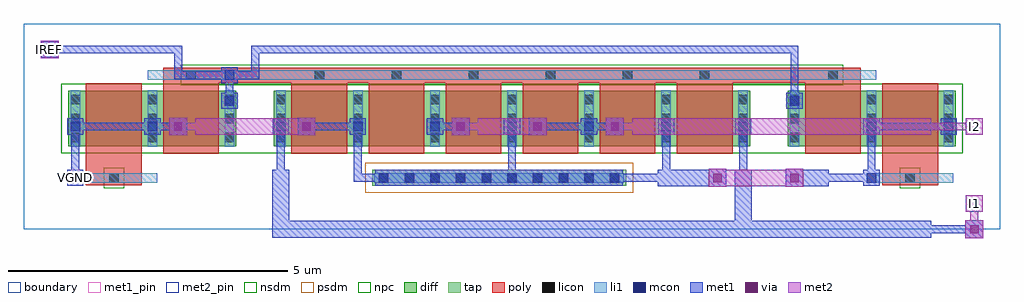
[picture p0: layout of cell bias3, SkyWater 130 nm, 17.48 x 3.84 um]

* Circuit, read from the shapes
.subckt bias3 I1 I2 IREF VGND
XM1 VGND VGND VGND VGND sky130_fd_pr__nfet_01v8 w=1 l=1 m=2
XM2 IREF IREF VGND VGND sky130_fd_pr__nfet_01v8 w=1 l=1 m=2
XM3 VGND IREF I1 VGND sky130_fd_pr__nfet_01v8 w=1 l=1 m=2
XM4 I2 IREF VGND VGND sky130_fd_pr__nfet_01v8 w=1 l=1 m=4
.ends

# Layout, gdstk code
import gdstk
lib = gdstk.Library(unit=1e-6, precision=1e-09)
def R(c, l, rs):  # rectangles x0, y0, x1, y1
    for r in rs: c.add(gdstk.rectangle(r[:2], r[2:], *l))
def A(c, l, x, y, w, h, nx, ny, dx, dy):  # array of equal rectangles
    R(c, l, [(x+i*dx, y+j*dy, x+i*dx+w, y+j*dy+h) for i in range(nx) for j in range(ny)])
diff = (65, 20)
tap = (65, 44)
poly = (66, 20)
licon = (66, 44)
li1 = (67, 20)
mcon = (67, 44)
met1_pin = (68, 16)
met1 = (68, 20)
via = (68, 44)
met2_pin = (69, 16)
met2 = (69, 20)
nsdm = (93, 44)
psdm = (94, 20)
npc = (95, 20)
boundary = (235, 4)

bias3 = lib.new_cell('bias3')
R(bias3, diff, [(0.795,1.485,3.805,2.485), (4.475,1.485,13.005,2.485), (13.675,1.485,16.685,2.485)])
R(bias3, tap, [(6.235,0.775,10.785,1.065)])
A(bias3, poly, 4.79, 1.355, 1, 1.405, 6, 1, 1.38, 0)
R(bias3, poly, [(1.11,0.785,2.11,1.055), (15.37,0.785,16.37,1.055), (1.11,0.92,2.11,2.615), (15.37,0.92,16.37,2.615), (2.49,1.355,3.49,2.76), (13.99,1.355,14.99,2.76), (2.49,2.625,14.99,2.895)])
A(bias3, licon, 6.355, 0.835, 0.17, 0.17, 10, 1, 0.46, 0)
A(bias3, licon, 0.835, 1.56, 0.17, 0.17, 3, 3, 1.38, 0.34)
A(bias3, licon, 4.515, 1.56, 0.17, 0.17, 7, 3, 1.38, 0.34)
A(bias3, licon, 13.715, 1.56, 0.17, 0.17, 3, 3, 1.38, 0.34)
A(bias3, licon, 5.205, 2.675, 0.17, 0.17, 6, 1, 1.38, 0)
R(bias3, licon, [(1.525,0.835,1.695,1.005), (15.785,0.835,15.955,1.005), (2.905,2.675,3.075,2.845), (14.405,2.675,14.575,2.845)])
A(bias3, li1, 0.835, 1.48, 0.17, 1.01, 3, 1, 1.38, 0)
A(bias3, li1, 4.515, 1.48, 0.17, 1.01, 7, 1, 1.38, 0)
A(bias3, li1, 13.715, 1.48, 0.17, 1.01, 3, 1, 1.38, 0)
R(bias3, li1, [(0.835,0.835,2.385,1.005), (6.275,0.835,10.745,1.005), (15.095,0.835,16.645,1.005), (2.215,2.675,15.265,2.845)])
A(bias3, mcon, 6.355, 0.835, 0.17, 0.17, 10, 1, 0.46, 0)
A(bias3, mcon, 4.515, 1.755, 0.17, 0.17, 7, 1, 1.38, 0)
R(bias3, mcon, [(0.835,0.835,1.005,1.005), (15.095,0.835,15.265,1.005), (0.835,1.755,1.005,1.925), (2.215,1.755,2.385,1.925), (15.095,1.755,15.265,1.925), (16.475,1.755,16.645,1.925), (3.595,2.215,3.765,2.385), (13.715,2.215,13.885,2.385), (3.595,2.675,3.765,2.845)])
R(bias3, met1_pin, [(0.775,0.775,1.065,1.065)])
A(bias3, met1, 5.91, 0.85, 0.14, 1.06, 3, 1, 2.76, 0)
A(bias3, met1, 7.66, 1.68, 0.32, 0.32, 3, 1, 1.38, 0)
A(bias3, met1, 4.455, 1.695, 0.29, 0.29, 7, 1, 1.38, 0)
R(bias3, met1, [(16.86,-0.16,17.18,0.16), (4.45,-0.15,4.75,1.07), (4.45,-0.15,13.03,0.15), (12.73,-0.15,13.03,1.07), (12.73,-0.15,16.25,0.15), (16.03,-0.07,17.09,0.07), (12.26,0.76,12.58,1.08), (13.64,0.76,13.96,1.08), (11.35,0.77,12.57,1.07), (13.65,0.77,14.41,1.07), (0.775,0.775,1.065,1.065), (6.295,0.775,10.725,1.065), (15.035,0.775,15.325,1.065), (0.85,0.85,0.99,1.91), (4.53,0.85,4.67,1.91), (5.91,0.85,6.51,0.99), (6.37,0.85,8.81,0.99), (6.37,0.85,6.51,0.99), (8.67,0.85,11.57,0.99), (12.81,0.85,12.95,1.91), (14.19,0.85,15.25,0.99), (15.11,0.85,15.25,1.91), (2.6,1.68,2.92,2), (4.9,1.68,5.22,2), (0.775,1.695,1.065,1.985), (2.155,1.695,2.445,1.985), (15.035,1.695,15.325,1.985), (16.415,1.695,16.705,1.985), (0.85,1.77,2.37,1.91), (2.23,1.77,2.83,1.91), (4.99,1.77,6.05,1.91), (7.29,1.77,7.89,1.91), (9.13,1.77,10.19,1.91), (10.05,1.77,10.65,1.91), (15.11,1.77,16.63,1.91), (3.535,2.155,3.825,2.445), (13.655,2.155,13.945,2.445), (3.61,2.23,3.75,2.83), (13.73,2.23,13.87,3.29), (3.535,2.615,3.825,2.905), (2.69,2.69,2.83,3.29), (2.69,2.69,3.75,2.83), (3.61,2.69,4.21,2.83), (4.07,2.69,4.21,3.29), (0.3,3.06,0.62,3.38), (0.39,3.15,2.83,3.29), (4.07,3.15,13.87,3.29)])
A(bias3, via, 7.745, 1.765, 0.15, 0.15, 3, 1, 1.38, 0)
R(bias3, via, [(16.945,-0.075,17.095,0.075), (12.345,0.845,12.495,0.995), (13.725,0.845,13.875,0.995), (2.685,1.765,2.835,1.915), (4.985,1.765,5.135,1.915), (0.385,3.145,0.535,3.295)])
R(bias3, met2_pin, [(16.87,0.31,17.17,0.61), (16.87,1.69,17.17,1.99), (0.31,3.07,0.61,3.37)])
A(bias3, met2, 7.66, 1.68, 0.32, 0.32, 3, 1, 1.38, 0)
R(bias3, met2, [(16.86,-0.16,17.18,0.16), (16.95,-0.07,17.09,0.53), (16.87,0.31,17.17,0.61), (16.95,0.39,17.09,0.53), (12.26,0.76,12.58,1.08), (13.64,0.76,13.96,1.08), (12.27,0.77,13.95,1.07), (2.6,1.68,2.92,2), (4.9,1.68,5.22,2), (3.07,1.69,5.21,1.99), (8.13,1.69,9.35,1.99), (10.89,1.69,16.25,1.99), (16.87,1.69,17.17,1.99), (2.69,1.77,3.29,1.91), (7.75,1.77,8.35,1.91), (10.51,1.77,11.11,1.91), (16.03,1.77,17.09,1.91), (16.95,1.77,17.09,1.91), (0.3,3.06,0.62,3.38), (0.31,3.07,0.61,3.37), (0.39,3.15,0.53,3.29)])
R(bias3, nsdm, [(0.67,1.36,16.81,2.61)])
R(bias3, psdm, [(6.11,0.65,10.91,1.19)])
R(bias3, npc, [(1.425,0.735,1.795,1.105), (15.685,0.735,16.055,1.105), (2.805,2.575,14.675,2.945)])
R(bias3, boundary, [(0,0,17.48,3.68)])
bias3.add(gdstk.Label('VGND', (0.92,0.92), layer=68, texttype=5))
bias3.add(gdstk.Label('IREF', (0.46,3.22), layer=69, texttype=5))
bias3.add(gdstk.Label('I1', (17.02,0.46), layer=69, texttype=5))
bias3.add(gdstk.Label('I2', (17.02,1.84), layer=69, texttype=5))
bias3.add(gdstk.Label('VGND', (0.92,0.92), layer=68, texttype=16))
bias3.add(gdstk.Label('IREF', (0.46,3.22), layer=69, texttype=16))
bias3.add(gdstk.Label('I1', (17.02,0.46), layer=69, texttype=16))
bias3.add(gdstk.Label('I2', (17.02,1.84), layer=69, texttype=16))

lib.write_gds('bias3.gds')
